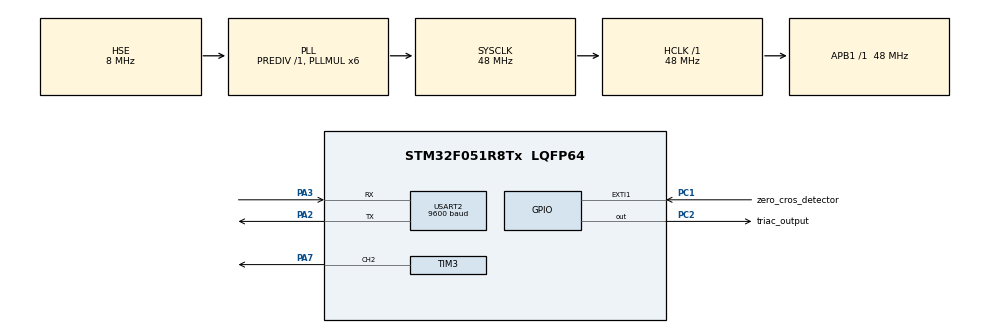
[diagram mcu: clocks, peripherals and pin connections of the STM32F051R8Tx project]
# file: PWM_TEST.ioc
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Mcu.Family=STM32F0
Mcu.Name=STM32F051R8Tx
Mcu.Package=LQFP64
NVIC.EXTI0_1_IRQn=true\:0\:0\:false\:false\:true\:true\:true\:true
NVIC.TIM14_IRQn=true\:0\:0\:false\:false\:true\:true\:true\:true
NVIC.TIM2_IRQn=true\:0\:0\:false\:false\:true\:true\:true\:true
NVIC.TIM6_DAC_IRQn=true\:0\:0\:false\:false\:true\:true\:true\:true
NVIC.USART2_IRQn=true\:0\:0\:false\:false\:true\:true\:true\:true
PA13.Mode=Serial_Wire
PA13.Signal=SYS_SWDIO
PA14.Mode=Serial_Wire
PA14.Signal=SYS_SWCLK
PA2.Mode=Asynchronous
PA2.Signal=USART2_TX
PA3.Mode=Asynchronous
PA3.Signal=USART2_RX
PA7.Signal=S_TIM3_CH2
PC1.GPIO_Label=zero_cros_detector
PC1.GPIO_ModeDefaultEXTI=GPIO_MODE_IT_RISING_FALLING
PC1.GPIO_PuPd=GPIO_PULLDOWN
PC1.Signal=GPXTI1
PC2.GPIO_Label=triac_output
PC2.GPIO_PuPd=GPIO_PULLDOWN
PC2.GPIO_Speed=GPIO_SPEED_FREQ_HIGH
PC2.PinState=GPIO_PIN_RESET
PC2.Signal=GPIO_Output
PF0-OSC_IN.Mode=HSE-External-Oscillator
PF0-OSC_IN.Signal=RCC_OSC_IN
PF1-OSC_OUT.Mode=HSE-External-Oscillator
PF1-OSC_OUT.Signal=RCC_OSC_OUT
ProjectManager.HeapSize=0x200
ProjectManager.StackSize=0x400
ProjectManager.TargetToolchain=STM32CubeIDE
RCC.AHBFreq_Value=48000000
RCC.APB1Freq_Value=48000000
RCC.APB1TimFreq_Value=48000000
RCC.HCLKFreq_Value=48000000
RCC.PLLMUL=RCC_PLL_MUL6
RCC.PLLSourceVirtual=RCC_PLLSOURCE_HSE
RCC.SYSCLKFreq_VALUE=48000000
RCC.SYSCLKSource=RCC_SYSCLKSOURCE_PLLCLK
SH.S_TIM3_CH2.0=TIM3_CH2,PWM Generation2 CH2
TIM14.AutoReloadPreload=TIM_AUTORELOAD_PRELOAD_DISABLE
TIM14.Channel=TIM_CHANNEL_1
TIM14.ClockDivision=TIM_CLOCKDIVISION_DIV1
TIM14.Period=4000
TIM14.Prescaler=47999
TIM2.Channel-PWM\ Generation1\ No\ Output=TIM_CHANNEL_1
TIM2.Period=360
TIM2.Prescaler=1199
TIM3.AutoReloadPreload=TIM_AUTORELOAD_PRELOAD_DISABLE
TIM3.Channel-PWM\ Generation2\ CH2=TIM_CHANNEL_2
TIM3.OCMode_PWM-PWM\ Generation2\ CH2=TIM_OCMODE_PWM1
TIM3.Period=100
TIM3.Prescaler=1199
TIM3.Pulse-PWM\ Generation2\ CH2=38
TIM6.Period=5000
TIM6.Prescaler=47999
USART2.BaudRate=9600
USART2.VirtualMode-Asynchronous=VM_ASYNC
VP_TIM14_VS_ClockSourceINT.Mode=Enable_Timer
VP_TIM14_VS_OPM.Mode=OPM_bit
VP_TIM14_VS_no_output1.Mode=PWM Generation1 No Output
VP_TIM2_VS_ClockSourceINT.Mode=Internal
VP_TIM2_VS_OPM.Mode=OPM_bit
VP_TIM2_VS_no_output1.Mode=PWM Generation1 No Output
VP_TIM3_VS_ClockSourceINT.Mode=Internal
VP_TIM6_VS_ClockSourceINT.Mode=Enable_Timer
board=STM32F0DISCOVERY

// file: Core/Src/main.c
/* USER CODE BEGIN Header */
/**
  ******************************************************************************
  * @file           : main.c
  * @brief          : Main program body
  ******************************************************************************
  * @attention
  *
  * Copyright (c) 2024 STMicroelectronics.
  * All rights reserved.
  *
  * This software is licensed under terms that can be found in the LICENSE file
  * in the root directory of this software component.
  * If no LICENSE file comes with this software, it is provided AS-IS.
  *
  ******************************************************************************
  */
/* USER CODE END Header */
#include "main.h"

/* USER CODE BEGIN Includes */
#include "stdio.h"
#include <string.h>
#include "veri.h"
#include "pwm.h"
/* USER CODE END Includes */

TIM_HandleTypeDef htim2;
TIM_HandleTypeDef htim3;
TIM_HandleTypeDef htim6;
TIM_HandleTypeDef htim14;

UART_HandleTypeDef huart2;

void SystemClock_Config(void);
static void MX_GPIO_Init(void);
static void MX_TIM3_Init(void);
static void MX_USART2_UART_Init(void);
static void MX_TIM14_Init(void);
static void MX_TIM6_Init(void);
static void MX_TIM2_Init(void);

/* USER CODE BEGIN 0 */
///timer 2 triac driver 25us 1 tick
///timer 3 pwm driver 25us 1 tick
///timer 14 on/off driver 1 ms 1 tick
__attribute__((section(".myCustomSection"))) int test_data[512];

uint8_t rx_Buffer[2048];
uint32_t Mesaj_id=0;
uint32_t Mesaj_boyu=0;
uint8_t HeaderOrData=0x01;

uint8_t Versiyon_Cevap[]= {0x00,0x00,0x00,0xf2,0x01,0x00,0xff,0xff};
uint8_t OK_NOK_Cevap[]= {0x00,0x00,0x00,0xf4,0x00,0x00,0x00,0x01};

uint8_t on_or_off_time=0x01;

uint32_t zero_cross_dedect=0;
////////MATRİS VERİLERİ

///////

void HAL_UART_RxCpltCallback(UART_HandleTypeDef *huart)
{
  if (huart->Instance == USART2)
  {
	  start_uart_timer();
	  if(HeaderOrData)
	  {
		  Mesaj_id=rx_Buffer[0]<<24 | rx_Buffer[1]<<16 | rx_Buffer[2]<<8 | rx_Buffer[3];
		  Mesaj_boyu=rx_Buffer[4]<<24 | rx_Buffer[5]<<16 | rx_Buffer[6]<<8 | rx_Buffer[7];

		  if(Mesaj_id==0xF1000000)
		  {
			  //HAL_TIM_Base_Start_IT(&htim6);
			  start_int_timer(&htim6,2000);
			  HeaderOrData=0x00;
			  memset(rx_Buffer,0,sizeof(rx_Buffer));
			  HAL_UART_Receive_IT(&huart2,rx_Buffer,1);

		  }
		  if(Mesaj_id==0xF3000000)
		  {
			  //HAL_TIM_Base_Start_IT(&htim6);
			  start_int_timer(&htim6,2000);
			  HeaderOrData=0x00;
			  memset(rx_Buffer,0,sizeof(rx_Buffer));
			  HAL_UART_Receive_IT(&huart2,rx_Buffer,1701); //50 1700 olacak.
		  }
		  if(Mesaj_id==0xF5000000)
		  {
			 // HAL_TIM_Base_Start_IT(&htim6);
			  start_int_timer(&htim6,2000);
			  HeaderOrData=0x00;
			  memset(rx_Buffer,0,sizeof(rx_Buffer));
			  HAL_UART_Receive_IT(&huart2,rx_Buffer,102); //doğru mesaj boylarını gir.
		  }

	  }
	  else //data
	  {
		  if(Mesaj_id==0xF1000000)
		  {
			  HAL_TIM_Base_Stop_IT(&htim6);
			  HeaderOrData=0x01;
			  memset(rx_Buffer,0,sizeof(rx_Buffer));
			  HAL_UART_Receive_IT(&huart2,rx_Buffer,8); // tekrardan header bekliyor
			  HAL_UART_Transmit(huart, Versiyon_Cevap, 8, 5000);
		  }

		  if(Mesaj_id==0xF3000000)
		  {
		      HAL_TIM_Base_Stop_IT(&htim6);
			  HeaderOrData=0x01;
			  //burda data atama işlemleri yapılacak
			  ///
			  memset(rx_Buffer,0,sizeof(rx_Buffer));
			  HAL_UART_Receive_IT(&huart2,rx_Buffer,8); // tekrardan header bekliyor

			  OK_NOK_Cevap[3]=0xf4;
			  HAL_UART_Transmit(huart, OK_NOK_Cevap, 8, 5000);
		  }

		  if(Mesaj_id==0xF5000000)
		  {

			  HAL_TIM_Base_Stop_IT(&htim6);

			  HeaderOrData=0x01;
			  //burda data atama işlemleri yapılacak
			  ///

			  HAL_UART_Receive_IT(&huart2,rx_Buffer,8); // tekrardan header bekliyor
			  OK_NOK_Cevap[3]=0xf6;
			  HAL_UART_Transmit(huart, OK_NOK_Cevap, 8, 5000);
			  if(rx_Buffer[0]!=0xff) // senaryo başlat ff gelirse durdur ve sistemi 0la. diğer türlü başlat.
			  {
				  start_int_timer(&htim14, Veri_Matrisi[Aktif_Indeks].V_Acis_Zaman);
				  enable_triac_int();
				  start_pwm_m(Veri_Matrisi[Aktif_Indeks].M_deger);
				  on_or_off_time=1; //Von da başlayacak.
			  }
			  else
			  {
				  HAL_TIM_Base_Stop_IT(&htim14);
				  disable_triac_int();
				  on_or_off_time=0; //bura kritik değil uarttan başlarken hep  vonda başlıyor nasılsa.
			  }
			  memset(rx_Buffer,0,sizeof(rx_Buffer));
		  }
	  }

  }
}

void HAL_TIM_PeriodElapsedCallback(TIM_HandleTypeDef *htim)
{
    if (htim->Instance == TIM6)		// uart protection
    {
    	HAL_TIM_Base_Stop_IT(&htim6);
    	HeaderOrData=0x01;
    	HAL_UART_DeInit(&huart2);
    	MX_USART2_UART_Init();
    	memset(rx_Buffer,0,sizeof(rx_Buffer));
    	//uint8_t* error_message="\r\nComm Error";
    	//HAL_UART_Transmit(&huart2, error_message, 12, 5000);
    	HAL_UART_Receive_IT(&huart2,rx_Buffer,8);

    }
    if (htim->Instance == TIM14)		//veri açık kapalı süresini ayarlar
    {
    	HAL_TIM_Base_Stop_IT(&htim14);
    	if(on_or_off_time==1)	//açık süre sonrası giriyor
    	{
        	///diğer timerleri m timer kapat
    		disable_triac_int();
    		stop_pwm_m();
    		on_or_off_time=0;
    		start_int_timer(&htim14, Veri_Matrisi[Aktif_Indeks].V_Kapanis_Zaman);

    	}
    	else				//kapali süre sonrası giriyor
    	{
    		Aktif_Indeks++;
    		on_or_off_time=1;
    		start_int_timer(&htim14, Veri_Matrisi[Aktif_Indeks].V_Acis_Zaman);
    		start_pwm_m(Veri_Matrisi[Aktif_Indeks].M_deger);
    		enable_triac_int();

    	}

    }

    if (htim->Instance == TIM2)		// interrupt sonrası alfa kadar bekleyip triac pinini sürer
    {
    	HAL_TIM_Base_Stop_IT(&htim2);
    	HAL_GPIO_WritePin(triac_output_GPIO_Port, triac_output_Pin, GPIO_PIN_SET);
    	for(int i=0;i<3000;i++)
    	{

    	}
    	HAL_GPIO_WritePin(triac_output_GPIO_Port, triac_output_Pin, GPIO_PIN_RESET);
    	EXTI->PR=EXTI_PR_PR1;
    }

}

void HAL_GPIO_EXTI_Callback(uint16_t GPIO_Pin)
{
    if(GPIO_Pin == GPIO_PIN_1)
    {
    	zero_cross_dedect++;
    	start_int_timer(&htim2, Veri_Matrisi[Aktif_Indeks].V_deger);

        // PC burda alfa counterini aktif et ve o kadar süre bekle. sonra alfa pininden pulse ver.

    }
}

/* USER CODE END 0 */

int main(void)
{

  /* USER CODE BEGIN 1 */
	///timer 2 triac driver 25us 1 tick
	///timer 3 pwm driver 25us 1 tick
	///timer 14 on/off driver 1 ms 1 tick
	memset(rx_Buffer,0,sizeof(rx_Buffer));
	////BRUAYI UARTTA KONFIG MESAJI İLE AYARLAYACAKSIN.
	Veri_Matrisi[0].V_Acis_Zaman=5000;
	Veri_Matrisi[0].V_Kapanis_Zaman=1000;
	Veri_Matrisi[0].M_deger=1000;
	Veri_Matrisi[0].V_deger=320;
	Veri_Matrisi[0].Aktif_Kapali=0x01;

	Veri_Matrisi[1].V_Acis_Zaman=5000;
	Veri_Matrisi[1].V_Kapanis_Zaman=1000;
	Veri_Matrisi[1].M_deger=500;
	Veri_Matrisi[1].V_deger=320;
	Veri_Matrisi[1].Aktif_Kapali=0x01;

	Veri_Matrisi[2].V_Acis_Zaman=5000;
	Veri_Matrisi[2].V_Kapanis_Zaman=1000;
	Veri_Matrisi[2].M_deger=250;
	Veri_Matrisi[2].V_deger=280;
	Veri_Matrisi[2].Aktif_Kapali=0x01;

	Veri_Matrisi[3].V_Acis_Zaman=5000;
	Veri_Matrisi[3].V_Kapanis_Zaman=1000;
	Veri_Matrisi[3].M_deger=125;
	Veri_Matrisi[3].V_deger=240;
	Veri_Matrisi[3].Aktif_Kapali=0x01;

	Veri_Matrisi[4].V_Acis_Zaman=5000;
	Veri_Matrisi[4].V_Kapanis_Zaman=1000;
	Veri_Matrisi[4].M_deger=100;
	Veri_Matrisi[4].V_deger=200;
	Veri_Matrisi[4].Aktif_Kapali=0x01;

	Veri_Matrisi[5].V_Acis_Zaman=5000;
	Veri_Matrisi[5].V_Kapanis_Zaman=1000;
	Veri_Matrisi[5].M_deger=75;
	Veri_Matrisi[5].V_deger=160;
	Veri_Matrisi[5].Aktif_Kapali=0x01;

	Veri_Matrisi[6].V_Acis_Zaman=5000;
	Veri_Matrisi[6].V_Kapanis_Zaman=1000;
	Veri_Matrisi[6].M_deger=20;
	Veri_Matrisi[6].V_deger=120;
	Veri_Matrisi[6].Aktif_Kapali=0x01;

	Veri_Matrisi[7].V_Acis_Zaman=5000;
	Veri_Matrisi[7].V_Kapanis_Zaman=1000;
	Veri_Matrisi[7].M_deger=10;
	Veri_Matrisi[7].V_deger=80;
	Veri_Matrisi[7].Aktif_Kapali=0x01;

	Veri_Matrisi[8].V_Acis_Zaman=5000;
	Veri_Matrisi[8].V_Kapanis_Zaman=1000;
	Veri_Matrisi[8].M_deger=8;
	Veri_Matrisi[8].V_deger=40;
	Veri_Matrisi[8].Aktif_Kapali=0x01;

	Veri_Matrisi[9].V_Acis_Zaman=5000;
	Veri_Matrisi[9].V_Kapanis_Zaman=1000;
	Veri_Matrisi[9].M_deger=4;
	Veri_Matrisi[9].V_deger=20;
	Veri_Matrisi[9].Aktif_Kapali=0x01;
	////

  /* USER CODE END 1 */

  /* MCU Configuration--------------------------------------------------------*/

  /* Reset of all peripherals, Initializes the Flash interface and the Systick. */
  HAL_Init();

  /* Configure the system clock */
  SystemClock_Config();

  /* Initialize all configured peripherals */
  MX_GPIO_Init();
  MX_TIM3_Init();
  MX_USART2_UART_Init();
  MX_TIM14_Init();
  MX_TIM6_Init();
  MX_TIM2_Init();
  /* USER CODE BEGIN 2 */
  HAL_UART_Receive_IT(&huart2,rx_Buffer,8);
  start_uart_timer();
 // HAL_TIM_Base_Start_IT(&htim6);
	//HAL_UART_Receive_IT(&huart2,rx_Buffer, sizeof(rx_Buffer));
  /* USER CODE END 2 */

  /* Infinite loop */
  while (1)
  {

    /* USER CODE BEGIN 3 */
	  if(Aktif_Indeks==10)
	  {
		  Aktif_Indeks=0;
	  }
  }
  /* USER CODE END 3 */
}

void SystemClock_Config(void)
{
  RCC_OscInitTypeDef RCC_OscInitStruct = {0};
  RCC_ClkInitTypeDef RCC_ClkInitStruct = {0};

  /** Initializes the RCC Oscillators according to the specified parameters
  * in the RCC_OscInitTypeDef structure.
  */
  RCC_OscInitStruct.OscillatorType = RCC_OSCILLATORTYPE_HSE;
  RCC_OscInitStruct.HSEState = RCC_HSE_ON;
  RCC_OscInitStruct.PLL.PLLState = RCC_PLL_ON;
  RCC_OscInitStruct.PLL.PLLSource = RCC_PLLSOURCE_HSE;
  RCC_OscInitStruct.PLL.PLLMUL = RCC_PLL_MUL6;
  RCC_OscInitStruct.PLL.PREDIV = RCC_PREDIV_DIV1;
  if (HAL_RCC_OscConfig(&RCC_OscInitStruct) != HAL_OK)
  {
    Error_Handler();
  }

  /** Initializes the CPU, AHB and APB buses clocks
  */
  RCC_ClkInitStruct.ClockType = RCC_CLOCKTYPE_HCLK|RCC_CLOCKTYPE_SYSCLK
                              |RCC_CLOCKTYPE_PCLK1;
  RCC_ClkInitStruct.SYSCLKSource = RCC_SYSCLKSOURCE_PLLCLK;
  RCC_ClkInitStruct.AHBCLKDivider = RCC_SYSCLK_DIV1;
  RCC_ClkInitStruct.APB1CLKDivider = RCC_HCLK_DIV1;

  if (HAL_RCC_ClockConfig(&RCC_ClkInitStruct, FLASH_LATENCY_1) != HAL_OK)
  {
    Error_Handler();
  }
}

static void MX_TIM2_Init(void)
{

  TIM_ClockConfigTypeDef sClockSourceConfig = {0};
  TIM_MasterConfigTypeDef sMasterConfig = {0};
  TIM_OC_InitTypeDef sConfigOC = {0};

  htim2.Instance = TIM2;
  htim2.Init.Prescaler = 1199;
  htim2.Init.CounterMode = TIM_COUNTERMODE_UP;
  htim2.Init.Period = 360;
  htim2.Init.ClockDivision = TIM_CLOCKDIVISION_DIV1;
  htim2.Init.AutoReloadPreload = TIM_AUTORELOAD_PRELOAD_DISABLE;
  if (HAL_TIM_Base_Init(&htim2) != HAL_OK)
  {
    Error_Handler();
  }
  sClockSourceConfig.ClockSource = TIM_CLOCKSOURCE_INTERNAL;
  if (HAL_TIM_ConfigClockSource(&htim2, &sClockSourceConfig) != HAL_OK)
  {
    Error_Handler();
  }
  if (HAL_TIM_PWM_Init(&htim2) != HAL_OK)
  {
    Error_Handler();
  }
  if (HAL_TIM_OnePulse_Init(&htim2, TIM_OPMODE_SINGLE) != HAL_OK)
  {
    Error_Handler();
  }
  sMasterConfig.MasterOutputTrigger = TIM_TRGO_RESET;
  sMasterConfig.MasterSlaveMode = TIM_MASTERSLAVEMODE_DISABLE;
  if (HAL_TIMEx_MasterConfigSynchronization(&htim2, &sMasterConfig) != HAL_OK)
  {
    Error_Handler();
  }
  sConfigOC.OCMode = TIM_OCMODE_PWM1;
  sConfigOC.Pulse = 0;
  sConfigOC.OCPolarity = TIM_OCPOLARITY_HIGH;
  sConfigOC.OCFastMode = TIM_OCFAST_DISABLE;
  if (HAL_TIM_PWM_ConfigChannel(&htim2, &sConfigOC, TIM_CHANNEL_1) != HAL_OK)
  {
    Error_Handler();
  }

}

static void MX_TIM3_Init(void)
{

  TIM_ClockConfigTypeDef sClockSourceConfig = {0};
  TIM_MasterConfigTypeDef sMasterConfig = {0};
  TIM_OC_InitTypeDef sConfigOC = {0};

  htim3.Instance = TIM3;
  htim3.Init.Prescaler = 1199;
  htim3.Init.CounterMode = TIM_COUNTERMODE_UP;
  htim3.Init.Period = 100;
  htim3.Init.ClockDivision = TIM_CLOCKDIVISION_DIV1;
  htim3.Init.AutoReloadPreload = TIM_AUTORELOAD_PRELOAD_DISABLE;
  if (HAL_TIM_Base_Init(&htim3) != HAL_OK)
  {
    Error_Handler();
  }
  sClockSourceConfig.ClockSource = TIM_CLOCKSOURCE_INTERNAL;
  if (HAL_TIM_ConfigClockSource(&htim3, &sClockSourceConfig) != HAL_OK)
  {
    Error_Handler();
  }
  if (HAL_TIM_PWM_Init(&htim3) != HAL_OK)
  {
    Error_Handler();
  }
  sMasterConfig.MasterOutputTrigger = TIM_TRGO_RESET;
  sMasterConfig.MasterSlaveMode = TIM_MASTERSLAVEMODE_DISABLE;
  if (HAL_TIMEx_MasterConfigSynchronization(&htim3, &sMasterConfig) != HAL_OK)
  {
    Error_Handler();
  }
  sConfigOC.OCMode = TIM_OCMODE_PWM1;
  sConfigOC.Pulse = 38;
  sConfigOC.OCPolarity = TIM_OCPOLARITY_HIGH;
  sConfigOC.OCFastMode = TIM_OCFAST_DISABLE;
  if (HAL_TIM_PWM_ConfigChannel(&htim3, &sConfigOC, TIM_CHANNEL_2) != HAL_OK)
  {
    Error_Handler();
  }
  HAL_TIM_MspPostInit(&htim3);

}

static void MX_TIM6_Init(void)
{

  TIM_MasterConfigTypeDef sMasterConfig = {0};

  htim6.Instance = TIM6;
  htim6.Init.Prescaler = 47999;
  htim6.Init.CounterMode = TIM_COUNTERMODE_UP;
  htim6.Init.Period = 5000;
  htim6.Init.AutoReloadPreload = TIM_AUTORELOAD_PRELOAD_DISABLE;
  if (HAL_TIM_Base_Init(&htim6) != HAL_OK)
  {
    Error_Handler();
  }
  sMasterConfig.MasterOutputTrigger = TIM_TRGO_RESET;
  sMasterConfig.MasterSlaveMode = TIM_MASTERSLAVEMODE_DISABLE;
  if (HAL_TIMEx_MasterConfigSynchronization(&htim6, &sMasterConfig) != HAL_OK)
  {
    Error_Handler();
  }
  /* USER CODE BEGIN TIM6_Init 2 */
  stop_int_timer(&htim6);
  /* USER CODE END TIM6_Init 2 */

}

static void MX_TIM14_Init(void)
{

  TIM_OC_InitTypeDef sConfigOC = {0};

  htim14.Instance = TIM14;
  htim14.Init.Prescaler = 47999;
  htim14.Init.CounterMode = TIM_COUNTERMODE_UP;
  htim14.Init.Period = 4000;
  htim14.Init.ClockDivision = TIM_CLOCKDIVISION_DIV1;
  htim14.Init.AutoReloadPreload = TIM_AUTORELOAD_PRELOAD_DISABLE;
  if (HAL_TIM_Base_Init(&htim14) != HAL_OK)
  {
    Error_Handler();
  }
  if (HAL_TIM_PWM_Init(&htim14) != HAL_OK)
  {
    Error_Handler();
  }
  if (HAL_TIM_OnePulse_Init(&htim14, TIM_OPMODE_SINGLE) != HAL_OK)
  {
    Error_Handler();
  }
  sConfigOC.OCMode = TIM_OCMODE_PWM1;
  sConfigOC.Pulse = 0;
  sConfigOC.OCPolarity = TIM_OCPOLARITY_HIGH;
  sConfigOC.OCFastMode = TIM_OCFAST_DISABLE;
  if (HAL_TIM_PWM_ConfigChannel(&htim14, &sConfigOC, TIM_CHANNEL_1) != HAL_OK)
  {
    Error_Handler();
  }

}

static void MX_USART2_UART_Init(void)
{

  huart2.Instance = USART2;
  huart2.Init.BaudRate = 9600;
  huart2.Init.WordLength = UART_WORDLENGTH_8B;
  huart2.Init.StopBits = UART_STOPBITS_1;
  huart2.Init.Parity = UART_PARITY_NONE;
  huart2.Init.Mode = UART_MODE_TX_RX;
  huart2.Init.HwFlowCtl = UART_HWCONTROL_NONE;
  huart2.Init.OverSampling = UART_OVERSAMPLING_16;
  huart2.Init.OneBitSampling = UART_ONE_BIT_SAMPLE_DISABLE;
  huart2.AdvancedInit.AdvFeatureInit = UART_ADVFEATURE_NO_INIT;
  if (HAL_UART_Init(&huart2) != HAL_OK)
  {
    Error_Handler();
  }

}

static void MX_GPIO_Init(void)
{
  GPIO_InitTypeDef GPIO_InitStruct = {0};

  /* GPIO Ports Clock Enable */
  __HAL_RCC_GPIOF_CLK_ENABLE();
  __HAL_RCC_GPIOC_CLK_ENABLE();
  __HAL_RCC_GPIOA_CLK_ENABLE();

  /*Configure GPIO pin Output Level */
  HAL_GPIO_WritePin(triac_output_GPIO_Port, triac_output_Pin, GPIO_PIN_RESET);

  /*Configure GPIO pin : zero_cros_detector_Pin */
  GPIO_InitStruct.Pin = zero_cros_detector_Pin;
  GPIO_InitStruct.Mode = GPIO_MODE_IT_RISING;
  GPIO_InitStruct.Pull = GPIO_PULLDOWN;
  HAL_GPIO_Init(zero_cros_detector_GPIO_Port, &GPIO_InitStruct);

  /*Configure GPIO pin : triac_output_Pin */
  GPIO_InitStruct.Pin = triac_output_Pin;
  GPIO_InitStruct.Mode = GPIO_MODE_OUTPUT_PP;
  GPIO_InitStruct.Pull = GPIO_PULLDOWN;
  GPIO_InitStruct.Speed = GPIO_SPEED_FREQ_HIGH;
  HAL_GPIO_Init(triac_output_GPIO_Port, &GPIO_InitStruct);

  /* EXTI interrupt init*/
  HAL_NVIC_SetPriority(EXTI0_1_IRQn, 0, 0);
  HAL_NVIC_EnableIRQ(EXTI0_1_IRQn);

/* USER CODE BEGIN MX_GPIO_Init_2 */
  HAL_NVIC_DisableIRQ(EXTI0_1_IRQn);
/* USER CODE END MX_GPIO_Init_2 */
}

void Error_Handler(void)
{
  __disable_irq();
  while (1)
  {
  }
}
